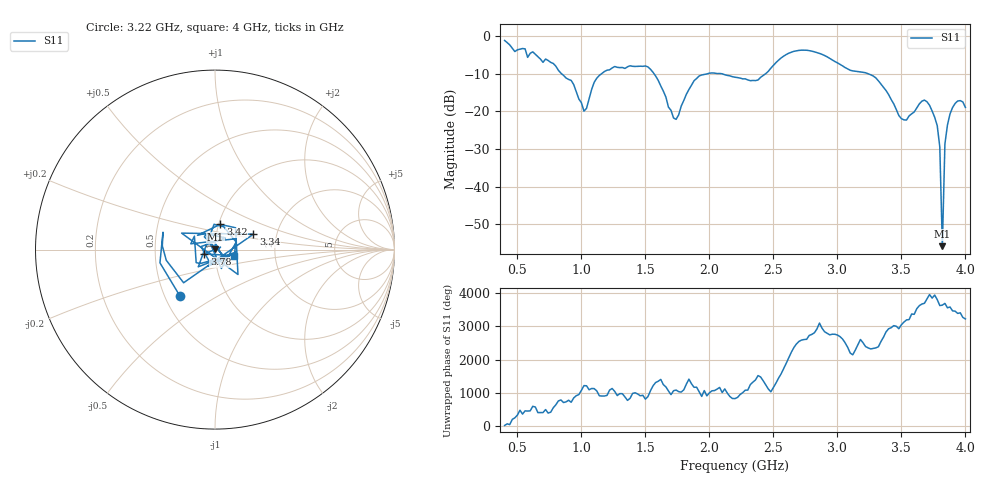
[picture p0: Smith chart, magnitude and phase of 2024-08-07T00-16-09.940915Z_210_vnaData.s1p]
!Created with skrf (http://scikit-rf.org).
# Hz S RI R 50.0
!freq ReS11 ImS11
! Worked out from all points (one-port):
!   181 points, 400 MHz to 4 GHz, reference 50 ohm
!   lowest |S11| = -55.8 dB at 3.82 GHz (marker M1), VSWR 1.00, Z = 50.1 + j0.0961 ohm
!   |S11| at or under -10 dB: 1.567 GHz to 1.988 GHz (421.3 MHz wide, 23.7 % of centre); 2.09 GHz to 2.44 GHz (349.8 MHz wide, 15.4 % of centre); 3.238 GHz to end of sweep (the widest 3 of 4)
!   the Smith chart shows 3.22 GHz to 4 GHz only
!   S11 on the Smith chart (normalised r, x): 3.22 GHz: 0.60, -0.35; 3.34 GHz: 1.51, +0.27; 3.42 GHz: 1.02, +0.29; 3.78 GHz: 0.89, -0.04; 4 GHz: 1.24, -0.09
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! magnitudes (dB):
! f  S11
! 400 MHz  -1.2
! 860 MHz  -10.5
! 940 MHz  -12.9
! 1.02 GHz  -19.9
! 1.12 GHz  -11.2
! 1.3 GHz  -8.4
! 1.52 GHz  -8.2
! 1.6 GHz  -11.8
! 1.72 GHz  -21.8
! 1.76 GHz  -20.9
! 1.92 GHz  -10.6
! 2.2 GHz  -11.0
! 2.38 GHz  -11.7
! 2.66 GHz  -4.1
! 3.1 GHz  -9.1
! 3.22 GHz  -9.8
! 3.34 GHz  -12.8
! 3.42 GHz  -16.9
! 3.5 GHz  -21.9
! 3.56 GHz  -21.2
! 3.68 GHz  -17.0
! 3.78 GHz  -23.8
! 3.8 GHz  -29.4
! 3.82 GHz  -55.8
! 3.84 GHz  -28.6
! 3.86 GHz  -23.6
! 3.92 GHz  -17.9
! 4 GHz  -19.0
